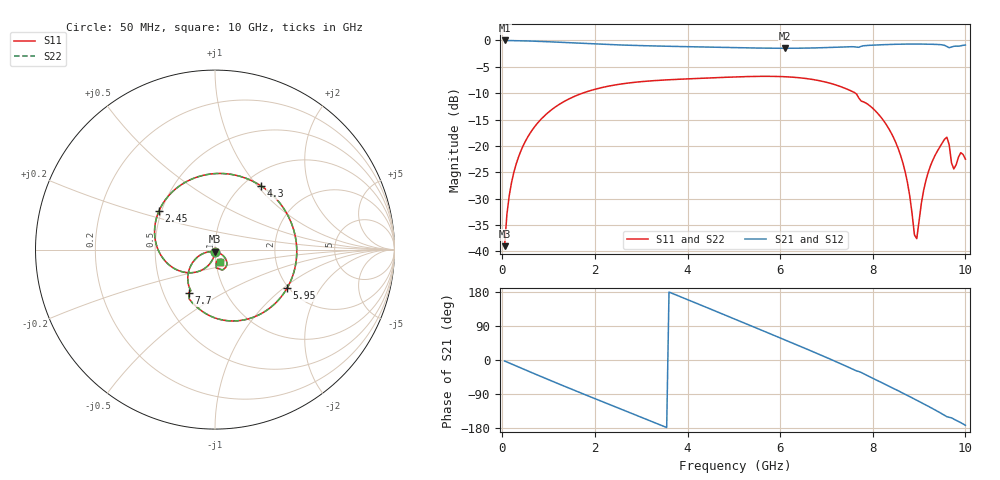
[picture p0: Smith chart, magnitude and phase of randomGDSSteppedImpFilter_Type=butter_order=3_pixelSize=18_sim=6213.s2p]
! freq	dB(S11)	phase(S11)	dB(S12)	phase(S12)
!  dB(S21)	phase(S21)	dB(S22)	phase(S22)
!S-par simulation data
#  GHz  S  DB  R 50
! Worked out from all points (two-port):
!   200 points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, 50 MHz to 10 GHz, reference 50 ohm
!   highest |S21| = -0.01 dB at 50 MHz (marker M1); lowest = -1.5 dB at 6.1 GHz (marker M2)
!   |S21| within 3 dB of the highest: start of sweep to end of sweep
!   lowest |S11| = -39.0 dB at 50 MHz (marker M3), VSWR 1.02, Z = 49.9 - j1.12 ohm
!   |S11| at or under -10 dB: start of sweep to 1.732 GHz; 7.623 GHz to end of sweep
!   |S22| runs from -39.0 to -6.8 dB; largest |S21 - S12| = 0
!   S11 on the Smith chart (normalised r, x): 50 MHz: 1.00, -0.02; 2.45 GHz: 0.48, +0.25; 4.3 GHz: 1.20, +1.05; 5.95 GHz: 1.96, -1.06; 7.7 GHz: 0.67, -0.35; 10 GHz: 1.05, -0.15
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0.05  -38.99 -92.7  -0.01 -2.7  -0.01 -2.7  -38.99 -92.8
0.1  -32.94 -95.6  -0.01 -5.3  -0.01 -5.3  -32.94 -95.6
0.2  -26.91 -100.9  -0.03 -10.6  -0.03 -10.6  -26.91 -100.9
0.5  -19.09 -116.6  -0.08 -26.2  -0.08 -26.2  -19.09 -116.7
1.15  -12.58 -150.3  -0.32 -59.6  -0.32 -59.6  -12.58 -150.3
1.75  -9.94 179.6  -0.57 -89.6  -0.57 -89.6  -9.94 179.5
2.45  -8.42 145.1  -0.83 -124.1  -0.83 -124.1  -8.42 145.1
3.4  -7.55 98.5  -1.07 -170.8  -1.07 -170.8  -7.55 98.5
4.3  -7.17 54.0  -1.24 144.3  -1.24 144.3  -7.17 53.9
5.05  -6.91 16.6  -1.37 106.5  -1.37 106.5  -6.91 16.6
5.95  -6.83 -28.1  -1.48 60.8  -1.48 60.8  -6.83 -28.1
6.1  -6.88 -35.5  -1.49 53.2  -1.49 53.2  -6.88 -35.5
6.7  -7.39 -65.4  -1.43 22.3  -1.43 22.3  -7.39 -65.4
7.7  -10.94 -121.3  -1.30 -30.5  -1.30 -30.5  -10.97 -121.2
8.35  -16.78 -149.9  -0.77 -69.0  -0.77 -69.0  -16.78 -149.6
8.7  -24.91 -162.5  -0.70 -90.5  -0.70 -90.5  -24.90 -162.0
8.95  -37.56 -81.3  -0.69 -106.2  -0.69 -106.2  -37.33 -81.6
9.15  -26.44 -36.4  -0.70 -119.0  -0.70 -119.0  -26.41 -36.6
9.5  -19.43 -52.1  -0.84 -142.5  -0.84 -142.5  -19.41 -51.9
9.6  -18.34 -69.8  -1.14 -149.6  -1.14 -149.6  -18.29 -69.6
9.75  -24.35 -67.6  -1.11 -155.9  -1.11 -155.9  -24.39 -68.2
10  -22.50 -68.4  -0.88 -172.3  -0.88 -172.3  -22.49 -67.4
